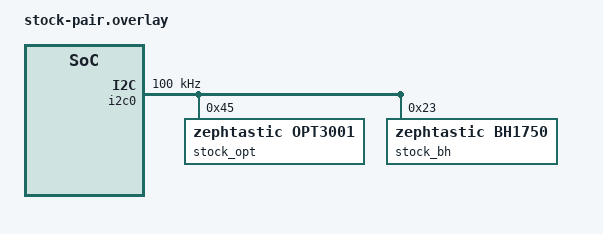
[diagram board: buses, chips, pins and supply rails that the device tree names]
/* Both explicitly declared external stock continuous optical producers. */
/ {
    aliases {
        zt-opt3001 = &stock_opt;
        zt-bh1750 = &stock_bh;
    };
};
&i2c0 {
    status = "okay";
    clock-frequency = <100000>;
    stock_opt: light@45 { compatible = "zephtastic,opt3001"; reg = <0x45>; };
    stock_bh: light@23 { compatible = "zephtastic,bh1750"; reg = <0x23>; };
};
